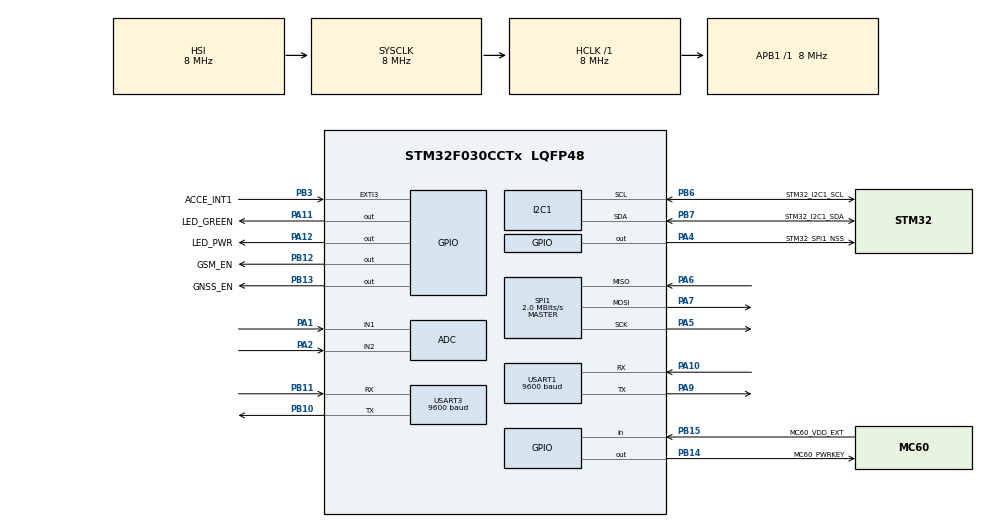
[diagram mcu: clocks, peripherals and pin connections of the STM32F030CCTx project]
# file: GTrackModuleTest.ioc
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Mcu.Family=STM32F0
Mcu.Name=STM32F030CCTx
Mcu.Package=LQFP48
NVIC.ADC1_IRQn=true\:0\:0\:false\:false\:true\:true\:true\:true
NVIC.EXTI2_3_IRQn=true\:0\:0\:false\:false\:true\:true\:true\:true
NVIC.SPI1_IRQn=true\:0\:0\:false\:false\:true\:true\:true\:true
NVIC.TIM3_IRQn=true\:0\:0\:false\:false\:true\:true\:true\:true
NVIC.TIM6_IRQn=true\:0\:0\:false\:false\:true\:true\:true\:true
NVIC.USART1_IRQn=true\:1\:0\:true\:false\:true\:true\:true\:true
NVIC.USART3_6_IRQn=true\:1\:0\:true\:false\:true\:true\:true\:true
PA1.Mode=IN1
PA1.Signal=ADC_IN1
PA10.Mode=Asynchronous
PA10.Signal=USART1_RX
PA11.GPIO_Label=LED_GREEN
PA11.PinState=GPIO_PIN_RESET
PA11.Signal=GPIO_Output
PA12.GPIO_Label=LED_PWR
PA12.GPIO_PuPd=GPIO_NOPULL
PA12.PinState=GPIO_PIN_RESET
PA12.Signal=GPIO_Output
PA13.Mode=Serial_Wire
PA13.Signal=SYS_SWDIO
PA14.Mode=Serial_Wire
PA14.Signal=SYS_SWCLK
PA2.Mode=IN2
PA2.Signal=ADC_IN2
PA4.GPIO_Label=STM32_SPI1_NSS
PA4.GPIO_Speed=GPIO_SPEED_FREQ_HIGH
PA4.PinState=GPIO_PIN_SET
PA4.Signal=GPIO_Output
PA5.Mode=Full_Duplex_Master
PA5.Signal=SPI1_SCK
PA6.Mode=Full_Duplex_Master
PA6.Signal=SPI1_MISO
PA7.Mode=Full_Duplex_Master
PA7.Signal=SPI1_MOSI
PA9.Mode=Asynchronous
PA9.Signal=USART1_TX
PB10.Mode=Asynchronous
PB10.Signal=USART3_TX
PB11.Mode=Asynchronous
PB11.Signal=USART3_RX
PB12.GPIO_Label=GSM_EN
PB12.Signal=GPIO_Output
PB13.GPIO_Label=GNSS_EN
PB13.Signal=GPIO_Output
PB14.GPIO_Label=MC60_PWRKEY
PB14.Signal=GPIO_Output
PB15.GPIO_Label=MC60_VDD_EXT
PB15.GPIO_PuPd=GPIO_PULLDOWN
PB15.Signal=GPIO_Input
PB3.GPIO_Label=ACCE_INT1
PB3.GPIO_ModeDefaultEXTI=GPIO_MODE_IT_RISING
PB3.GPIO_PuPd=GPIO_PULLUP
PB3.Signal=GPXTI3
PB6.GPIO_Label=STM32_I2C1_SCL
PB6.Mode=I2C
PB6.Signal=I2C1_SCL
PB7.GPIO_Label=STM32_I2C1_SDA
PB7.Mode=I2C
PB7.Signal=I2C1_SDA
ProjectManager.HeapSize=0x200
ProjectManager.StackSize=0x400
ProjectManager.TargetToolchain=MDK-ARM V5.32
RCC.AHBFreq_Value=8000000
RCC.APB1Freq_Value=8000000
RCC.APB1TimFreq_Value=8000000
RCC.HCLKFreq_Value=8000000
RCC.SYSCLKFreq_VALUE=8000000
SPI1.BaudRatePrescaler=SPI_BAUDRATEPRESCALER_4
SPI1.CRCCalculation=SPI_CRCCALCULATION_DISABLE
SPI1.CalculateBaudRate=2.0 MBits/s
SPI1.DataSize=SPI_DATASIZE_8BIT
SPI1.Direction=SPI_DIRECTION_2LINES
SPI1.Mode=SPI_MODE_MASTER
SPI1.NSSPMode=SPI_NSS_PULSE_DISABLE
SPI1.VirtualType=VM_MASTER
TIM3.Period=20
TIM3.Prescaler=8000 - 1
TIM6.Period=1000
TIM6.Prescaler=8000 - 1
USART1.BaudRate=9600
USART1.Mode=MODE_TX_RX
USART1.VirtualMode-Asynchronous=VM_ASYNC
USART3.BaudRate=9600
USART3.VirtualMode-Asynchronous=VM_ASYNC
VP_TIM3_VS_ClockSourceINT.Mode=Internal
VP_TIM6_VS_ClockSourceINT.Mode=Enable_Timer
board=custom

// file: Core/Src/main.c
/* USER CODE BEGIN Header */
/**
 ******************************************************************************
 * @file           : main.c
 * @brief          : Main program body
 ******************************************************************************
 * @attention
 *
 * Copyright (c) 2023 STMicroelectronics.
 * All rights reserved.
 *
 * This software is licensed under terms that can be found in the LICENSE file
 * in the root directory of this software component.
 * If no LICENSE file comes with this software, it is provided AS-IS.
 *
 ******************************************************************************
 */
 /* USER CODE END Header */
 /* Includes ------------------------------------------------------------------*/
#include "main.h"
#include "adc.h"
#include "i2c.h"
#include "spi.h"
#include "tim.h"
#include "usart.h"
#include "gpio.h"

/* USER CODE BEGIN Includes */
#include <stdio.h>

#include "signal/signal_pal.h"
#include "timer/timer_hcl.h"
#include "usart/usart_hcl.h"
#include "gnss/mc60_gnss.h"
#include "bma253/bma253_pal.h"
#include "gpio/gpio_hcl.h"
#include "mc60/mc60_pal.h"
#include "gtrack_nal.h"
#include "gtrack_ual.h"
#include "display/display_pal.h"
#include "supplier/supplier_pal.h"
#include "hardware/w25q_interface.h"
#include "w25q/w25q_pal.h"
#include "power/power_hcl.h"
////#include "test_bma253.h"
/* USER CODE END Includes */

/* USER CODE BEGIN PD */
#define MAX_UPLOAD_RETRIES 3
#define MIN_NUMBER_OF_DATA 8

/* USER CODE END PD */

/* USER CODE BEGIN PV */
bool UAL_MC60_isGetMetric = false;
static uint32_t  stop_pre;
static uint32_t  flash_count = MIN_NUMBER_OF_DATA;
/* USER CODE END PV */

void SystemClock_Config(void);

/* USER CODE BEGIN 0 */
void HAL_GPIO_EXTI_Callback(uint16_t GPIO_Pin) {
  // DEBUG("\n\nSLOPE!\n");
  HAL_ResumeTick();
  HAL_PWR_DisableSleepOnExit();
  stop_pre = HAL_GetTick();

  if (IsStop) {
    DEBUG("\nWAKE UP FROM STOP\n");
    IsStop = false;

    PAL_SIGNAL_PWR_SetState(1);
  }
  if (IsSleep) {
    DEBUG("\nWAKE UP FROM SLEEP\n");
    IsSleep = false;

    PAL_SIGNAL_PWR_SetState(1);
  }
}

/* USER CODE END 0 */

int main(void) {

  /* MCU Configuration--------------------------------------------------------*/

  /* Reset of all peripherals, Initializes the Flash interface and the Systick. */
  HAL_Init();

  /* Configure the system clock */
  SystemClock_Config();

  /* Initialize all configured peripherals */
  MX_GPIO_Init();
  MX_USART1_UART_Init();
  MX_USART3_UART_Init();
  MX_TIM3_Init();
  MX_I2C1_Init();
  MX_ADC_Init();
  MX_SPI1_Init();
  MX_TIM6_Init();
  /* USER CODE BEGIN 2 */

  HCL_GPIO_Init();
  HCL_UART_Init(huart_terminal);
  HCL_UART_Init(huart_mc60);
  HCL_TIMER_Init(&htim3);
  HCL_TIMER_Init(&htim6);

  PAL_BMA253_Init();
  UAL_GTRACK_Init();
  /* USER CODE END 2 */

  /* Infinite loop */
  /* USER CODE BEGIN WHILE */
  HCL_UART_StartReceive(huart_terminal);
  HCL_UART_StartReceive(huart_mc60);

  uint32_t pre = HAL_GetTick();
  uint32_t cur = pre;
  bool isRunning = true;
  char data = 0;
  bool mc60LastState = false, mc60CurState = false;

  W25Q_ITF_Init(&w25q, &hspi1, &hgpio_stm32_spi1_nss);
  W25Q_ITF_Reset(&w25q);

  PAL_W25Q_Queue_Init(&flash, &w25q);

  PAL_W25Q_Queue_RestoreState(&w25q, &flash);
  W25Q_ITF_EraseSector(&w25q, 31);
  HCL_TIMER_Start(htim_pwr);
  IsSleep = false;
  //HCL_POWER_EnterStopMode();
  while (1) {
    /* USER CODE END WHILE */

    /* USER CODE BEGIN 3 */
    if (flash.Count >= flash_count) {
      flash_count = MIN_NUMBER_OF_DATA;
      bool uploadSuccess = false;
      uint8_t uploadRetries = 0;

      while (!uploadSuccess && uploadRetries < MAX_UPLOAD_RETRIES) {
        DEBUG("\n\nNUMBER OF DATA:%d\n", flash.Count);
        uploadSuccess = UAL_GTRACK_GeoTrack_UploadData();
        uploadRetries++;

        if (!uploadSuccess) {
          // Delay before retrying to avoid excessive retries in a short time
          // Adjust the delay duration as per your requirements
          HAL_Delay(1000);
        }
        else if (!PAL_W25Q_Queue_IsEmpty(&flash)) {
          uploadSuccess = false;
          uploadRetries = 0;
        }
      }
    }

    if (HAL_GetTick() - stop_pre >= 600000) {
      if (PAL_W25Q_Queue_IsEmpty(&flash)) {
        flash_count = 0;
      }
      else {
        PAL_MC60_PowerOn(MC60_POWER_OFF);
        HCL_POWER_EnterStopMode();
      }
    }
    cur = HAL_GetTick();
    mc60CurState = MC60_ITF_IsRunning(&pal_mc60.core);

    if (HCL_UART_IsAvailable(huart_terminal)) {
      data = HCL_UART_InChar(huart_terminal);
      HCL_UART_OutChar(huart_mc60, data);
    }
    PAL_UART_FlushToUART_String(huart_mc60, huart_terminal);

    if (data == '#') {
      data = 0;
      DEBUG("%d", MC60_ITF_GNSS_checkPower(&pal_mc60.core))
        isRunning = !isRunning;
      if (isRunning == false) {
        DEBUG("\nPAUSE RUNNING")
          PAL_MC60_PowerOn(MC60_POWER_OFF);
      }
      else {
        DEBUG("\nCONTINUE RUNNING");
      }
    }

    if (!isTimerRunning)
      PAL_SIGNAL_LED_SetState(!mc60CurState);

    if (!isRunning) {
      continue;
    }

    if (!mc60CurState) {
      UAL_GTRACK_GeoTrack_Enable();
      //UAL_GTRACK_GeoTrack_Activate(GEOTRACK_ACTIVATE);
      //HCL_UART_OutChar(huart_mc60, '\0');
      UAL_GTRACK_GeoTrack_GetMetric();
    }

    if (UAL_MC60_isGetMetric == true) {
      //HCL_UART_OutChar(huart_mc60, '\0');
      UAL_GTRACK_GeoTrack_GetMetric();
      UAL_MC60_isGetMetric = false;
      HCL_POWER_EnterSleepMode();
    }
  }
  /* USER CODE END 3 */
}

void SystemClock_Config(void) {
  RCC_OscInitTypeDef RCC_OscInitStruct = { 0 };
  RCC_ClkInitTypeDef RCC_ClkInitStruct = { 0 };
  RCC_PeriphCLKInitTypeDef PeriphClkInit = { 0 };

  /** Initializes the RCC Oscillators according to the specified parameters
  * in the RCC_OscInitTypeDef structure.
  */
  RCC_OscInitStruct.OscillatorType = RCC_OSCILLATORTYPE_HSI | RCC_OSCILLATORTYPE_HSI14;
  RCC_OscInitStruct.HSIState = RCC_HSI_ON;
  RCC_OscInitStruct.HSI14State = RCC_HSI14_ON;
  RCC_OscInitStruct.HSICalibrationValue = RCC_HSICALIBRATION_DEFAULT;
  RCC_OscInitStruct.HSI14CalibrationValue = 16;
  RCC_OscInitStruct.PLL.PLLState = RCC_PLL_NONE;
  if (HAL_RCC_OscConfig(&RCC_OscInitStruct) != HAL_OK) {
    Error_Handler();
  }

  /** Initializes the CPU, AHB and APB buses clocks
  */
  RCC_ClkInitStruct.ClockType = RCC_CLOCKTYPE_HCLK | RCC_CLOCKTYPE_SYSCLK
    | RCC_CLOCKTYPE_PCLK1;
  RCC_ClkInitStruct.SYSCLKSource = RCC_SYSCLKSOURCE_HSI;
  RCC_ClkInitStruct.AHBCLKDivider = RCC_SYSCLK_DIV1;
  RCC_ClkInitStruct.APB1CLKDivider = RCC_HCLK_DIV1;

  if (HAL_RCC_ClockConfig(&RCC_ClkInitStruct, FLASH_LATENCY_0) != HAL_OK) {
    Error_Handler();
  }
  PeriphClkInit.PeriphClockSelection = RCC_PERIPHCLK_USART1 | RCC_PERIPHCLK_I2C1;
  PeriphClkInit.Usart1ClockSelection = RCC_USART1CLKSOURCE_PCLK1;
  PeriphClkInit.I2c1ClockSelection = RCC_I2C1CLKSOURCE_HSI;
  if (HAL_RCCEx_PeriphCLKConfig(&PeriphClkInit) != HAL_OK) {
    Error_Handler();
  }
}

void Error_Handler(void) {
  __disable_irq();
  while (1) {
  }
}

#ifdef  USE_FULL_ASSERT
/**
  * @brief  Reports the name of the source file and the source line number
  *         where the assert_param error has occurred.
  * @param  file: pointer to the source file name
  * @param  line: assert_param error line source number
  * @retval None
  */
void assert_failed(uint8_t* file, uint32_t line) {
  /* USER CODE BEGIN 6 */
  /* User can add his own implementation to report the file name and line
     number, ex: printf("Wrong parameters value: file %s on line %d\r\n", file,
     line) */
     /* USER CODE END 6 */
}
#endif /* USE_FULL_ASSERT */
